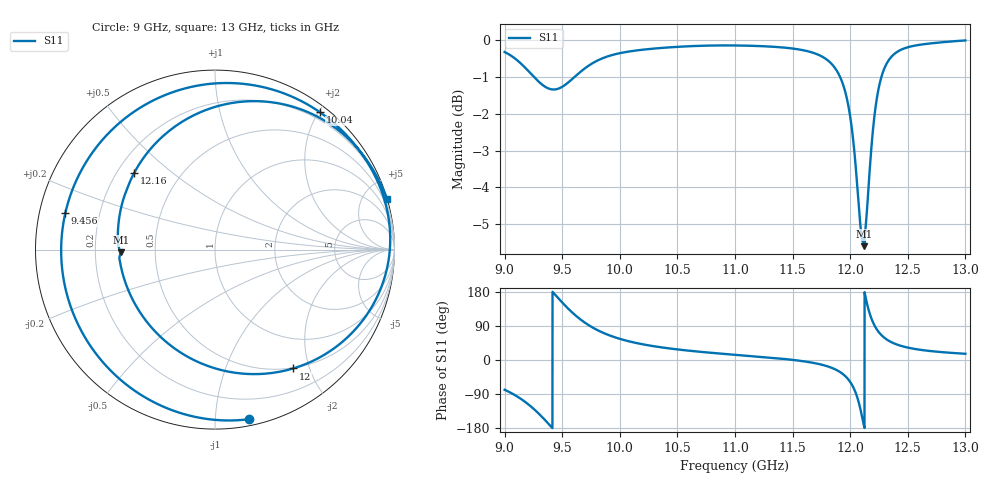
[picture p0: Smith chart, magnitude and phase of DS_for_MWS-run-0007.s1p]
! TOUCHSTONE file generated by CST DESIGN STUDIO
! Date and time: Tue Feb  4 13:55:46 2025
! Project name: C:\Work\MatlabApps\UnitCellOptimizationMatlab\CST\unitcell.cst
! Tree item: Tasks\Sweep1\SPara1\S-Parameters
! Header version: 2024
! Port assignment regex: !\s*Touchstone port\s*([0-9]+)\s*=\s*(CST MWS port|CST DES external port|CST DES block port)\s*(.+)\s* \(\"(.*)\"\)(\s*mode\s*([0-9]+))?.*
! Touchstone port assignment:
! Touchstone port 1 = CST DES external port 1 ("")
# GHz S MA R 50
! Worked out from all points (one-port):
!   4001 points, 9 GHz to 13 GHz, reference 50 ohm
!   lowest |S11| = -5.6 dB at 12.12 GHz (marker M1), VSWR 3.21, Z = 15.6 - j0.63 ohm
!   |S11| at or under -10 dB: nowhere
!   S11 on the Smith chart (normalised r, x): 9 GHz: 0.05, -1.22; 9.456 GHz: 0.08, +0.12; 10.04 GHz: 0.10, +2.02; 12 GHz: 0.49, -1.75; 12.16 GHz: 0.27, +0.37; 13 GHz: 0.01, +6.93
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9  0.9639 -78.5
9.127  0.9342 -99.7
9.231  0.8997 -123.3
9.355  0.8639 -159.7
9.456  0.8584 166.4
9.5  0.8644 151.8
9.596  0.8882 122.9
9.695  0.9154 98.9
9.842  0.9441 73.6
10  0.9604 55.8
10.037  0.963 52.6
10.5  0.9797 27.9
11  0.9839 13.8
11.5  0.9746 0.3
11.846  0.926 -21.4
11.933  0.875 -36.2
11.997  0.7928 -56.6
12  0.7873 -57.9
12.065  0.6226 -102.1
12.098  0.5421 -142.4
12.123  0.5246 -178.4
12.156  0.6207 136.5
12.183  0.7116 110.4
12.213  0.7952 90.0
12.299  0.9175 58.1
12.382  0.9578 43.6
12.5  0.9784 32.7
13  0.9995 16.4
